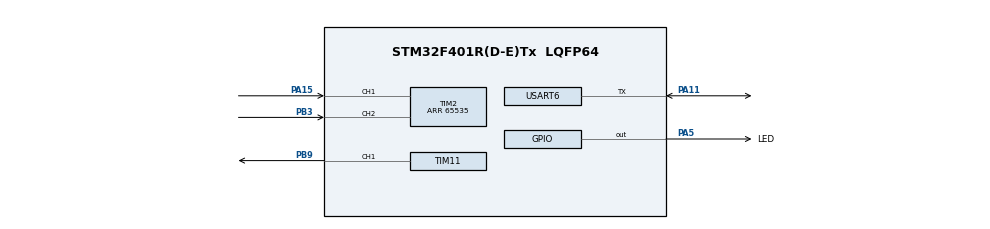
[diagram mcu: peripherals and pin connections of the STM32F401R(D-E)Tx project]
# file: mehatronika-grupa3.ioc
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Mcu.Family=STM32F4
Mcu.Name=STM32F401R(D-E)Tx
Mcu.Package=LQFP64
NVIC.PriorityGroup=NVIC_PRIORITYGROUP_4
NVIC.TIM1_UP_TIM10_IRQn=true\:0\:0\:false\:false\:true\:true\:true
NVIC.USART6_IRQn=true\:0\:0\:false\:false\:true\:true\:true
PA11.GPIO_PuPd=GPIO_PULLUP
PA11.Mode=Half_duplex(single_wire_mode)
PA11.Signal=USART6_TX
PA12.Signal=USART6_RX
PA15.Signal=S_TIM2_CH1_ETR
PA5.GPIO_Label=LED
PA5.Signal=GPIO_Output
PB3.Signal=S_TIM2_CH2
PB9.Signal=S_TIM11_CH1
ProjectManager.HeapSize=0x200
ProjectManager.StackSize=0x400
ProjectManager.TargetToolchain=STM32CubeIDE
RCC.48MHZClocksFreq_Value=42000000
RCC.AHBFreq_Value=84000000
RCC.APB1CLKDivider=RCC_HCLK_DIV2
RCC.APB1Freq_Value=42000000
RCC.APB1TimFreq_Value=84000000
RCC.APB2Freq_Value=84000000
RCC.APB2TimFreq_Value=84000000
RCC.CortexFreq_Value=84000000
RCC.HCLKFreq_Value=84000000
RCC.HSE_VALUE=25000000
RCC.HSI_VALUE=16000000
RCC.LSE_VALUE=32768
RCC.PLLM=8
RCC.PLLN=84
RCC.SYSCLKFreq_VALUE=84000000
RCC.SYSCLKSource=RCC_SYSCLKSOURCE_PLLCLK
RCC.VCOOutputFreq_Value=168000000
SH.S_TIM11_CH1.0=TIM11_CH1,PWM Generation1 CH1
SH.S_TIM2_CH1_ETR.0=TIM2_CH1,Encoder_Interface
SH.S_TIM2_CH2.0=TIM2_CH2,Encoder_Interface
TIM10.Period=999
TIM10.Prescaler=83
TIM11.AutoReloadPreload=TIM_AUTORELOAD_PRELOAD_ENABLE
TIM11.Channel=TIM_CHANNEL_1
TIM11.Period=19999
TIM11.Prescaler=83
TIM2.EncoderMode=TIM_ENCODERMODE_TI12
TIM2.Period=65535
USART6.BaudRate=9600
USART6.VirtualMode=VM_ASYNC
VP_TIM10_VS_ClockSourceINT.Mode=Enable_Timer
VP_TIM11_VS_ClockSourceINT.Mode=Enable_Timer
board=custom

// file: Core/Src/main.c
/* USER CODE BEGIN Header */
/**
 ******************************************************************************
 * @file           : main.c
 * @brief          : Main program body
 ******************************************************************************
 * @attention
 *
 * <h2><center>&copy; Copyright (c) 2024 STMicroelectronics.
 * All rights reserved.</center></h2>
 *
 * This software component is licensed by ST under BSD 3-Clause license,
 * the "License"; You may not use this file except in compliance with the
 * License. You may obtain a copy of the License at:
 *                        opensource.org/licenses/BSD-3-Clause
 *
 ******************************************************************************
 */
/* USER CODE END Header */

#include "main.h"
#include "tim.h"
#include "usart.h"
#include "gpio.h"

/* USER CODE BEGIN Includes */
#include "../Lib/periferije/gpio/gpio.h"
#include "../Lib/periferije/timer/timer.h"
#include "../Lib/periferije/uart/uart.h"
#include "../Lib/periferije/pwm/pwm.h"

#include "../Lib/moduli/odometrija/odometrija.h"
/* USER CODE END Includes */

void
SystemClock_Config (void);

int
main (void)
{

  /* MCU Configuration--------------------------------------------------------*/

  /* Reset of all peripherals, Initializes the Flash interface and the Systick. */

  LL_APB2_GRP1_EnableClock (LL_APB2_GRP1_PERIPH_SYSCFG);
  LL_APB1_GRP1_EnableClock (LL_APB1_GRP1_PERIPH_PWR);

  NVIC_SetPriorityGrouping (NVIC_PRIORITYGROUP_4);

  /* System interrupt init*/

  /* Configure the system clock */
  SystemClock_Config ();

  /* Initialize all configured peripherals */
  MX_GPIO_Init ();
  MX_TIM10_Init ();
  MX_TIM2_Init ();
  MX_USART6_UART_Init ();
  MX_TIM11_Init ();
  /* USER CODE BEGIN 2 */
  // gpio_init ();
  // timer_init ();
  // uart_init ();
  // pwm_init ();
  motor1_init ();
  // ....

  odometrija_init ();

  LL_TIM_EnableIT_UPDATE (TIM10);
  LL_TIM_EnableCounter (TIM10);
  LL_TIM_EnableCounter (TIM2);

  LL_USART_EnableIT_RXNE (USART6);
  LL_USART_EnableHalfDuplex (USART6);
  LL_USART_Enable (USART6);

  LL_TIM_CC_EnableChannel(TIM11, LL_TIM_CHANNEL_CH1);
  LL_TIM_EnableCounter(TIM11);

  __enable_irq ();
  /* USER CODE END 2 */

  /* Infinite loop */
  /* USER CODE BEGIN WHILE */
  uint8_t stanje = 0;

  uint8_t led_on[] =
    { 0xff, 0xff, 0x01, 0x04, 0x03, 0x19, 0x01, 0xdd };
  uint8_t led_off[] =
    { 0xff, 0xff, 0x01, 0x04, 0x03, 0x19, 0x00, 0xde };

  uint8_t move_0[] =
    { 0xff, 0xff, 0x01, 0x05, 0x03, 0x1e, 0x00, 0x00, 0xd8 };
  uint8_t move_300[] =
    { 0xff, 0xff, 0x01, 0x05, 0x03, 0x1e, 0xff, 0x03, 0xd6 }; // 0x03ff - 300

  uint8_t move_0_fe[] =
    { 0xff, 0xff, 0xfe, 0x05, 0x03, 0x1e, 0x00, 0x00, 0xdb };
  uint8_t move_300_fe[] =
    { 0xff, 0xff, 0xfe, 0x05, 0x03, 0x1e, 0xff, 0x03, 0xd9 }; // 0x03ff - 300

  uint8_t ping[] =
    { 0xff, 0xff, 0x02, 0x02, 0x01, 0xfa };

  while (1)
    {

//      switch (stanje)
//	{
//	case 0:
//	  // Promena stanja LED
//	  // Inicijalizacija stanja
//	  // -
//
//	  // Telo stanja
//	  GPIOA->ODR ^= (0b1 << 5);
////	  uart_slanje('a');
//	  uart_slanje_str ("EUROBOT!");
//
//	  // Uslov prelaska
//	  stanje++;
//	  break;
//
//	case 1:
//	  // Čekanje x ms
//	  // Inicijalizacija stanja
//	  // -
//
//	  // Telo stanja
//	  // -
//
//	  //LL_mDelay(Delay)
//	  // Uslov prelaska
//	  if (timer_delay (1000))
//	    {
//	      stanje = 0; // vrati se na po�?etno stanje
//	    }
//	  break;
//
//	}

//      GPIOA->ODR ^= (0b1 << 5);
////      LL_mDelay (100);
//      timer_delay (1000);

//      // Ukljuci
////      uart_slanje_bytes (led_on, sizeof(led_on)/sizeof(*led_on));
//      uart_slanje_bytes (move_0_fe, sizeof(move_0_fe)/sizeof(*move_0_fe));
//      LL_mDelay(1000);
//      // Iskljuci
////      uart_slanje_bytes (led_off, sizeof(led_off)/sizeof(*led_off));
//      uart_slanje_bytes (move_300_fe, sizeof(move_300_fe)/sizeof(*move_300_fe));
//      LL_mDelay(1000);

//      uart_slanje_bytes(ping, sizeof(ping)/sizeof(*ping));
//      LL_mDelay(1000);

      // PWM - RC servo
////      TIM11->CCR1 = TIM11->ARR / 2;
//      pwm_rc_dc(0);
//      LL_mDelay(1000);
////      TIM11->CCR1 = TIM11->ARR / 4;
//      pwm_rc_dc(100);
//      LL_mDelay(1000);
      LL_TIM_OC_SetCompareCH1(TIM11, TIM11->ARR/2);

//      // PWM - H-most (DC motor)
//      GPIOA->ODR |= (0b1 << 10); // SLP
//      GPIOA->ODR |= (0b1 << 8); // DIR
//      TIM3->CCR2 = TIM3->ARR / 2; // PWM

      /* USER CODE END WHILE */

    }
}

void
SystemClock_Config (void)
{
  LL_FLASH_SetLatency (LL_FLASH_LATENCY_2);

  if (LL_FLASH_GetLatency () != LL_FLASH_LATENCY_2)
    {
      Error_Handler ();
    }
  LL_PWR_SetRegulVoltageScaling (LL_PWR_REGU_VOLTAGE_SCALE2);
  LL_RCC_HSI_SetCalibTrimming (16);
  LL_RCC_HSI_Enable ();

  /* Wait till HSI is ready */
  while (LL_RCC_HSI_IsReady () != 1)
    {

    }
  LL_RCC_PLL_ConfigDomain_SYS (LL_RCC_PLLSOURCE_HSI, LL_RCC_PLLM_DIV_8, 84,
			       LL_RCC_PLLP_DIV_2);
  LL_RCC_PLL_Enable ();

  /* Wait till PLL is ready */
  while (LL_RCC_PLL_IsReady () != 1)
    {

    }
  LL_RCC_SetAHBPrescaler (LL_RCC_SYSCLK_DIV_1);
  LL_RCC_SetAPB1Prescaler (LL_RCC_APB1_DIV_2);
  LL_RCC_SetAPB2Prescaler (LL_RCC_APB2_DIV_1);
  LL_RCC_SetSysClkSource (LL_RCC_SYS_CLKSOURCE_PLL);

  /* Wait till System clock is ready */
  while (LL_RCC_GetSysClkSource () != LL_RCC_SYS_CLKSOURCE_STATUS_PLL)
    {

    }
  LL_Init1msTick (84000000);
  LL_SYSTICK_SetClkSource (LL_SYSTICK_CLKSOURCE_HCLK);
  LL_SetSystemCoreClock (84000000);
  LL_RCC_SetTIMPrescaler (LL_RCC_TIM_PRESCALER_TWICE);
}

void
Error_Handler (void)
{
}

/************************ (C) COPYRIGHT STMicroelectronics *****END OF FILE****/
